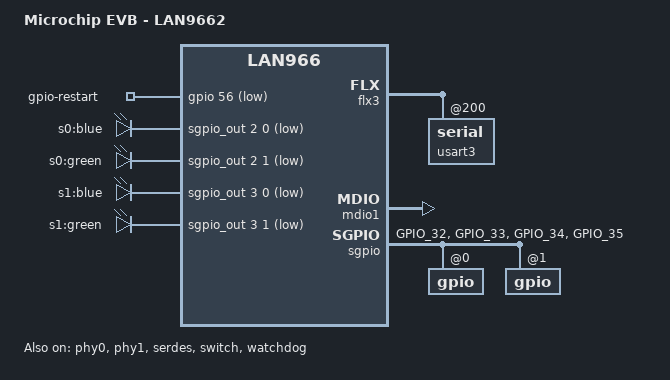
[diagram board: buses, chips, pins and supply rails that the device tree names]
// SPDX-License-Identifier: (GPL-2.0+ OR MIT)
/*
 * lan966x_pcb8291.dts - Device Tree file for PCB8291
 */
/dts-v1/;
#include "lan966x.dtsi"
#include "dt-bindings/phy/phy-lan966x-serdes.h"

/ {
	model = "Microchip EVB - LAN9662";
	compatible = "microchip,lan9662-pcb8291", "microchip,lan9662", "microchip,lan966";

	chosen {
		stdout-path = "serial0:115200n8";
	};

	aliases {
		serial0 = &usart3;
	};

	gpio-restart {
		compatible = "gpio-restart";
		gpios = <&gpio 56 GPIO_ACTIVE_LOW>;
		priority = <200>;
	};

	leds {
		compatible = "gpio-leds";

		led-s0-blue {
			label = "s0:blue";
			gpios = <&sgpio_out 2 0 GPIO_ACTIVE_LOW>;
			default-state = "off";
		};

		led-s0-green {
			label = "s0:green";
			gpios = <&sgpio_out 2 1 GPIO_ACTIVE_LOW>;
			default-state = "off";
		};

		led-s1-blue {
			label = "s1:blue";
			gpios = <&sgpio_out 3 0 GPIO_ACTIVE_LOW>;
			default-state = "off";
		};

		led-s1-green {
			label = "s1:green";
			gpios = <&sgpio_out 3 1 GPIO_ACTIVE_LOW>;
			default-state = "off";
		};
	};
};

&aes {
	status = "disabled"; /* Reserved by secure OS */
};

&gpio {
	fc3_b_pins: fc3-b-pins {
		/* RX, TX */
		pins = "GPIO_52", "GPIO_53";
		function = "fc3_b";
	};

	can0_b_pins:  can0-b-pins {
		/* RX, TX */
		pins = "GPIO_35", "GPIO_36";
		function = "can0_b";
	};

	sgpio_a_pins: sgpio-a-pins {
		/* SCK, D0, D1, LD */
		pins = "GPIO_32", "GPIO_33", "GPIO_34", "GPIO_35";
		function = "sgpio_a";
	};
};

&can0 {
	pinctrl-0 = <&can0_b_pins>;
	pinctrl-names = "default";
	status = "disabled"; /* Conflict with switch */
};

&flx3 {
	atmel,flexcom-mode = <ATMEL_FLEXCOM_MODE_USART>;
	status = "okay";

	usart3: serial@200 {
		pinctrl-0 = <&fc3_b_pins>;
		pinctrl-names = "default";
		status = "okay";
	};
};

&mdio1 {
	status = "okay";
};

&phy0 {
	status = "okay";
};

&phy1 {
	status = "okay";
};

&port0 {
	phy-handle = <&phy0>;
	phy-mode = "gmii";
	phys = <&serdes 0 CU(0)>;
	status = "okay";
};

&port1 {
	phy-handle = <&phy1>;
	phy-mode = "gmii";
	phys = <&serdes 1 CU(1)>;
	status = "okay";
};

&serdes {
	status = "okay";
};

&sgpio {
	pinctrl-0 = <&sgpio_a_pins>;
	pinctrl-names = "default";
	microchip,sgpio-port-ranges = <0 3>, <8 11>;
	status = "okay";

	gpio@0 {
		ngpios = <64>;
	};
	gpio@1 {
		ngpios = <64>;
	};
};

&switch {
	status = "okay";
};

&watchdog {
	status = "okay";
};
